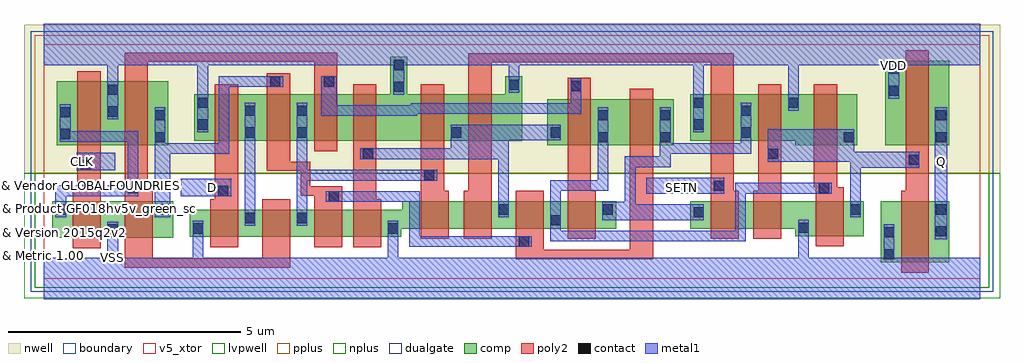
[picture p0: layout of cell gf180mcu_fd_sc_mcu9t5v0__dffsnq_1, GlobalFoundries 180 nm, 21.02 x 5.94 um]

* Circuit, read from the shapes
.subckt gf180mcu_fd_sc_mcu9t5v0__dffsnq_1 CLK D Q SETN VDD VSS
XM1 VSS CLK n1 VSUBS nfet_05v0 w=0.79u l=0.6u
XM2 n2 n1 VSS VSUBS nfet_05v0 w=0.79u l=0.6u
XM3 n3 D VSS VSUBS nfet_05v0 w=0.59u l=0.6u
XM4 n4 n1 n3 VSUBS nfet_05v0 w=0.59u l=0.6u
XM5 n5 n2 n4 VSUBS nfet_05v0 w=0.59u l=0.6u
XM6 VSS n6 n5 VSUBS nfet_05v0 w=0.59u l=0.6u
XM7 n7 n4 VSS VSUBS nfet_05v0 w=0.59u l=0.6u
XM8 n6 SETN n7 VSUBS nfet_05v0 w=0.59u l=0.6u
XM9 n8 n2 n6 VSUBS nfet_05v0 w=0.59u l=0.6u
XM10 n9 n1 n8 VSUBS nfet_05v0 w=0.59u l=0.6u
XM11 n10 SETN n9 VSUBS nfet_05v0 w=0.59u l=0.6u
XM12 VSS n11 n10 VSUBS nfet_05v0 w=0.59u l=0.6u
XM13 n11 n8 VSS VSUBS nfet_05v0 w=0.75u l=0.6u
XM14 Q n11 VSS VSUBS nfet_05v0 w=1.32u l=0.6u
XM15 VDD CLK n1 n12 pfet_05v0 w=1.38u l=0.5u
XM16 n2 n1 VDD n12 pfet_05v0 w=1.38u l=0.5u
XM17 n3 D VDD n12 pfet_05v0 w=1u l=0.5u
XM18 n4 n2 n3 n12 pfet_05v0 w=1u l=0.5u
XM19 n13 n1 n4 n12 pfet_05v0 w=1u l=0.5u
XM20 VDD n6 n13 n12 pfet_05v0 w=1u l=0.5u
XM21 n6 n4 VDD n12 pfet_05v0 w=1u l=0.5u
XM22 VDD SETN n6 n12 pfet_05v0 w=1u l=0.5u
XM23 n8 n1 n6 n12 pfet_05v0 w=1u l=0.5u
XM24 n9 n2 n8 n12 pfet_05v0 w=1u l=0.5u
XM25 n9 SETN VDD n12 pfet_05v0 w=1u l=0.5u
XM26 VDD n11 n9 n12 pfet_05v0 w=1u l=0.5u
XM27 n11 n8 VDD n12 pfet_05v0 w=1.1u l=0.5u
XM28 Q n11 VDD n12 pfet_05v0 w=1.83u l=0.5u
.ends

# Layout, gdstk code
import gdstk
lib = gdstk.Library(unit=1e-6, precision=1e-09)
def R(c, l, rs):  # rectangles x0, y0, x1, y1
    for r in rs: c.add(gdstk.rectangle(r[:2], r[2:], *l))
def P(c, l, *ps):  # polygons
    for p in ps: c.add(gdstk.Polygon(p, *l))
boundary = (0, 0)
nwell = (21, 0)
comp = (22, 0)
poly2 = (30, 0)
pplus = (31, 0)
nplus = (32, 0)
contact = (33, 0)
metal1 = (34, 0)
dualgate = (55, 0)
v5_xtor = (112, 1)
lvpwell = (204, 0)

gf180mcu_fd_sc_mcu9t5v0_ = lib.new_cell('gf180mcu_fd_sc_mcu9t5v0__dffsnq_1')
R(gf180mcu_fd_sc_mcu9t5v0_, boundary, [(0,0,20.16,5.04)])
R(gf180mcu_fd_sc_mcu9t5v0_, nwell, [(-0.43,2.265,20.59,5.47)])
R(gf180mcu_fd_sc_mcu9t5v0_, comp, [(18.02,0.345,19.5,1.665), (0.18,0.875,2.78,1.665), (0.28,2.865,2.68,4.245), (10.84,2.865,13.56,3.865), (18.12,2.865,19.5,4.695)])
P(gf180mcu_fd_sc_mcu9t5v0_, comp, [(3.24,2.965),(3.24,3.965),(7.46,3.965),(7.46,4.78),(7.82,4.78),(7.82,3.965),(9.94,3.965),(9.94,4.355),(10.3,4.355),(10.3,2.965)],
  [(3.14,0.895),(3.14,1.485),(7.72,1.485),(7.72,1.665),(12.32,1.665),(12.32,1.075),(7.7,1.075),(7.7,0.895)],
  [(16.18,2.865),(16.18,2.965),(13.92,2.965),(13.92,3.965),(17.52,3.965),(17.52,2.865)],
  [(16.18,0.915),(16.18,1.075),(13.92,1.075),(13.92,1.665),(17.66,1.665),(17.66,0.915)])
P(gf180mcu_fd_sc_mcu9t5v0_, poly2, [(0.62,0.655),(0.62,1.885),(0.72,1.885),(0.72,4.465),(1.22,4.465),(1.22,0.655)],
  [(3.58,0.675),(3.58,1.705),(3.68,1.705),(3.68,4.185),(4.18,4.185),(4.18,0.675)],
  [(1.74,0.235),(1.74,4.865),(6.32,4.865),(6.32,2.745),(5.82,2.745),(5.82,4.665),(2.24,4.665),(2.24,1.885),(2.34,1.885),(2.34,0.435),(4.7,0.435),(4.7,1.705),(5.3,1.705),(5.3,0.235)],
  [(5.82,0.675),(5.82,1.785),(5.535,1.785),(5.535,2.32),(4.8,2.32),(4.8,4.425),(5.3,4.425),(5.3,2.52),(5.735,2.52),(5.735,1.985),(6.42,1.985),(6.42,0.675)],
  [(6.66,0.675),(6.66,4.185),(7.16,4.185),(7.16,1.705),(7.26,1.705),(7.26,0.675)],
  [(8.12,0.855),(8.12,4.185),(8.62,4.185),(8.62,1.885),(8.72,1.885),(8.72,0.855)],
  [(11.28,0.855),(11.28,4.325),(11.78,4.325),(11.78,1.885),(11.88,1.885),(11.88,0.855)],
  [(10.16,0.415),(10.16,1.885),(10.76,1.885),(10.76,0.615),(12.62,0.615),(12.62,4.085),(13.12,4.085),(13.12,0.415)],
  [(9.04,0.855),(9.04,1.885),(9.14,1.885),(9.14,4.855),(14.86,4.855),(14.86,1.885),(14.96,1.885),(14.96,0.855),(14.36,0.855),(14.36,4.655),(9.64,4.655),(9.64,0.855)],
  [(15.28,0.855),(15.28,1.885),(15.38,1.885),(15.38,4.185),(15.88,4.185),(15.88,0.855)],
  [(16.62,0.695),(16.62,1.965),(16.58,1.965),(16.58,4.185),(17.08,4.185),(17.08,1.965),(17.22,1.965),(17.22,0.695)],
  [(18.46,0.125),(18.46,1.885),(18.56,1.885),(18.56,4.915),(19.06,4.915),(19.06,0.125)])
R(gf180mcu_fd_sc_mcu9t5v0_, pplus, [(-0.2,2.265,20.36,5.24)])
R(gf180mcu_fd_sc_mcu9t5v0_, nplus, [(-0.2,-0.2,20.36,2.265)])
R(gf180mcu_fd_sc_mcu9t5v0_, contact, [(18.09,0.415,18.31,0.635), (10.23,0.685,10.45,0.905), (18.09,0.885,18.31,1.105), (19.21,0.905,19.43,1.125), (1.37,0.945,1.59,1.165), (3.21,0.965,3.43,1.185), (7.41,0.965,7.63,1.185), (16.25,0.985,16.47,1.205), (10.91,1.145,11.13,1.365), (4.33,1.195,4.55,1.415), (5.45,1.195,5.67,1.415), (13.99,1.32,14.21,1.54), (0.25,1.375,0.47,1.595), (2.49,1.375,2.71,1.595), (9.79,1.375,10.01,1.595), (12.03,1.375,12.25,1.595), (17.37,1.375,17.59,1.595), (19.21,1.375,19.43,1.595), (6.13,1.655,6.35,1.875), (3.75,1.775,3.97,1.995), (1.81,1.835,2.03,2.055), (16.69,1.835,16.91,2.055), (14.43,1.89,14.65,2.11), (8.19,2.115,8.41,2.335), (0.79,2.335,1.01,2.555), (18.63,2.45,18.85,2.67), (6.87,2.575,7.09,2.795), (15.59,2.575,15.81,2.795), (2.39,2.935,2.61,3.155), (11.93,2.935,12.15,3.155), (13.27,2.935,13.49,3.155), (17.23,2.935,17.45,3.155), (19.21,2.935,19.43,3.155), (0.35,3,0.57,3.22), (4.33,3.035,4.55,3.255), (5.45,3.035,5.67,3.255), (8.77,3.035,8.99,3.255), (10.91,3.035,11.13,3.255), (15.01,3.035,15.23,3.255), (3.31,3.205,3.53,3.425), (13.99,3.205,14.21,3.425), (2.39,3.405,2.61,3.625), (11.93,3.405,12.15,3.625), (13.27,3.405,13.49,3.625), (19.21,3.405,19.43,3.625), (0.35,3.47,0.57,3.69), (1.37,3.485,1.59,3.705), (4.33,3.505,4.55,3.725), (5.45,3.505,5.67,3.725), (15.01,3.505,15.23,3.725), (3.31,3.675,3.53,3.895), (13.99,3.675,14.21,3.895), (16.03,3.675,16.25,3.895), (18.19,3.935,18.41,4.155), (1.37,3.955,1.59,4.175), (7.53,4.02,7.75,4.24), (11.35,4.035,11.57,4.255), (10.01,4.065,10.23,4.285), (4.87,4.135,5.09,4.355), (6.03,4.135,6.25,4.355), (18.19,4.405,18.41,4.625), (7.53,4.49,7.75,4.71)])
R(gf180mcu_fd_sc_mcu9t5v0_, metal1, [(19.19,0.845,19.45,3.685), (4.325,1.135,4.555,3.785), (2.95,1.77,4.03,2.15), (12.97,1.83,14.655,2.17), (0.71,2.33,1.53,2.71)])
P(gf180mcu_fd_sc_mcu9t5v0_, metal1, [(0.245,1.315),(0.245,2.005),(1.805,2.005),(1.805,2.94),(0.345,2.94),(0.345,3.75),(0.575,3.75),(0.575,3.17),(2.035,3.17),(2.035,1.775),(0.475,1.775),(0.475,1.315)],
  [(2.385,1.315),(2.385,3.685),(2.615,3.685),(2.615,2.915),(3.765,2.915),(3.765,4.36),(5.15,4.36),(5.15,4.13),(3.995,4.13),(3.995,2.685),(2.715,2.685),(2.715,1.315)],
  [(5.445,1.135),(5.445,3.785),(5.675,3.785),(5.675,2.34),(8.47,2.34),(8.47,2.11),(5.675,2.11),(5.675,1.135)],
  [(7.865,0.68),(7.865,1.65),(6.07,1.65),(6.07,1.88),(8.095,1.88),(8.095,0.91),(10.51,0.91),(10.51,0.68)],
  [(9.785,1.315),(9.785,2.57),(6.81,2.57),(6.81,2.8),(8.765,2.8),(8.765,3.315),(11.135,3.315),(11.135,2.975),(10.015,2.975),(10.015,1.315)],
  [(5.97,3.5),(5.97,4.36),(6.31,4.36),(6.31,3.73),(7.895,3.73),(7.895,3.775),(11.345,3.775),(11.345,4.315),(11.575,4.315),(11.575,3.545),(8.035,3.545),(8.035,3.5)],
  [(12.025,1.26),(12.025,1.655),(12.51,1.655),(12.51,2.63),(13.265,2.63),(13.265,3.685),(13.495,3.685),(13.495,2.915),(15.005,2.915),(15.005,3.785),(15.235,3.785),(15.235,2.685),(13.495,2.685),(13.495,2.4),(12.74,2.4),(12.74,1.6),(14.215,1.6),(14.215,1.26)],
  [(10.905,0.8),(10.905,2.115),(11.925,2.115),(11.925,3.685),(12.155,3.685),(12.155,1.885),(11.135,1.885),(11.135,1.03),(14.885,1.03),(14.885,2.06),(16.97,2.06),(16.97,1.83),(15.115,1.83),(15.115,0.8)],
  [(17.365,1.315),(17.365,2.515),(15.585,2.515),(15.585,3.215),(17.455,3.215),(17.455,2.73),(18.855,2.73),(18.855,2.39),(17.595,2.39),(17.595,1.315)],
  [(0,-0.45),(0,0.45),(1.365,0.45),(1.365,1.225),(1.595,1.225),(1.595,0.45),(3.205,0.45),(3.205,1.245),(3.435,1.245),(3.435,0.45),(7.405,0.45),(7.405,1.245),(7.635,1.245),(7.635,0.45),(16.245,0.45),(16.245,1.265),(16.475,1.265),(16.475,0.45),(18.085,0.45),(18.085,1.165),(18.315,1.165),(18.315,0.45),(20.16,0.45),(20.16,-0.45)],
  [(3.305,3.145),(3.305,4.59),(1.595,4.59),(1.595,3.425),(1.365,3.425),(1.365,4.59),(0,4.59),(0,5.49),(20.16,5.49),(20.16,4.59),(18.415,4.59),(18.415,3.875),(18.185,3.875),(18.185,4.59),(16.255,4.59),(16.255,3.615),(16.025,3.615),(16.025,4.59),(14.215,4.59),(14.215,3.145),(13.985,3.145),(13.985,4.59),(10.235,4.59),(10.235,4.005),(10.005,4.005),(10.005,4.59),(7.755,4.59),(7.755,3.96),(7.525,3.96),(7.525,4.59),(3.535,4.59),(3.535,3.145)])
R(gf180mcu_fd_sc_mcu9t5v0_, dualgate, [(-0.28,-0.28,20.44,5.32)])
R(gf180mcu_fd_sc_mcu9t5v0_, v5_xtor, [(0,0,20.16,5.04)])
R(gf180mcu_fd_sc_mcu9t5v0_, lvpwell, [(-0.43,-0.43,20.59,2.265)])
gf180mcu_fd_sc_mcu9t5v0_.add(gdstk.Label('CLK', (0.84,2.52), layer=34, texttype=10))
gf180mcu_fd_sc_mcu9t5v0_.add(gdstk.Label('D', (3.64,1.96), layer=34, texttype=10))
gf180mcu_fd_sc_mcu9t5v0_.add(gdstk.Label('Q', (19.32,2.52), layer=34, texttype=10))
gf180mcu_fd_sc_mcu9t5v0_.add(gdstk.Label('SETN', (13.72,1.96), layer=34, texttype=10))
gf180mcu_fd_sc_mcu9t5v0_.add(gdstk.Label('VDD', (18.3,4.59), layer=34, texttype=10))
gf180mcu_fd_sc_mcu9t5v0_.add(gdstk.Label('VSS', (1.48,0.45), layer=34, texttype=10))
gf180mcu_fd_sc_mcu9t5v0_.add(gdstk.Label('& Vendor GLOBALFOUNDRIES', (0,2), layer=63, texttype=63))
gf180mcu_fd_sc_mcu9t5v0_.add(gdstk.Label('& Product GF018hv5v_green_sc9', (0,1.5), layer=63, texttype=63))
gf180mcu_fd_sc_mcu9t5v0_.add(gdstk.Label('& Version 2015q2v2', (0,1), layer=63, texttype=63))
gf180mcu_fd_sc_mcu9t5v0_.add(gdstk.Label('& Metric 1.00', (0,0.5), layer=63, texttype=63))

lib.write_gds('gf180mcu_fd_sc_mcu9t5v0__dffsnq_1.gds')
